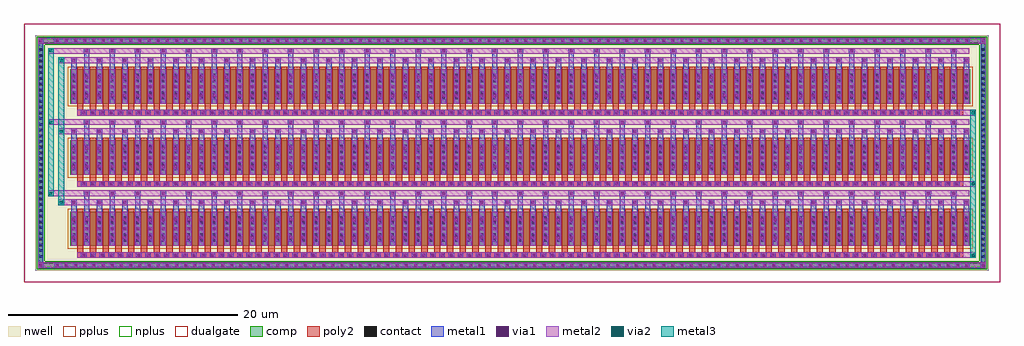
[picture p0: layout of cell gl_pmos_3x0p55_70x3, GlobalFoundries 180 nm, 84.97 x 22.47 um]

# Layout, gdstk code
import gdstk
lib = gdstk.Library(unit=1e-6, precision=1e-09)
def R(c, l, rs):  # rectangles x0, y0, x1, y1
    for r in rs: c.add(gdstk.rectangle(r[:2], r[2:], *l))
def A(c, l, x, y, w, h, nx, ny, dx, dy):  # array of equal rectangles
    R(c, l, [(x+i*dx, y+j*dy, x+i*dx+w, y+j*dy+h) for i in range(nx) for j in range(ny)])
def P(c, l, *ps):  # polygons
    for p in ps: c.add(gdstk.Polygon(p, *l))
nwell = (21, 0)
comp = (22, 0)
poly2 = (30, 0)
pplus = (31, 0)
nplus = (32, 0)
contact = (33, 0)
metal1 = (34, 0)
via1 = (35, 0)
metal2 = (36, 0)
via2 = (38, 0)
metal3 = (42, 0)
dualgate = (55, 0)

gl_pmos_3x0p55_70x3 = lib.new_cell('gl_pmos_3x0p55_70x3')
R(gl_pmos_3x0p55_70x3, nwell, [(-41.485,-10.235,41.485,10.235), (-41.325,-10.075,41.325,10.075)])
A(gl_pmos_3x0p55_70x3, comp, -39.78, -9.955, 0.36, 0.36, 100, 2, 0.8, 19.55)
A(gl_pmos_3x0p55_70x3, comp, -41.205, -9.18, 0.36, 0.36, 1, 37, 0, 0.5)
A(gl_pmos_3x0p55_70x3, comp, 40.845, -9.18, 0.36, 0.36, 1, 37, 0, 0.5)
A(gl_pmos_3x0p55_70x3, comp, -38.455, -8.095, 78.34, 3, 1, 3, 0, 6.19)
R(gl_pmos_3x0p55_70x3, comp, [(-39.78,-9.955,39.78,-9.595), (-41.205,-9.18,-40.845,9.18), (40.845,-9.18,41.205,9.18), (-39.78,9.595,39.78,9.955)])
P(gl_pmos_3x0p55_70x3, comp, [(-41.205,-9.955),(-41.205,-9.595),(-40.845,-9.595),(40.845,-9.595),(40.845,9.595),(-40.845,9.595),(-40.845,-9.595),(-41.205,-9.595),(-41.205,9.955),(41.205,9.955),(41.205,-9.955)])
A(gl_pmos_3x0p55_70x3, poly2, -37.855, -9.135, 77.14, 0.5, 1, 3, 0, 6.19)
A(gl_pmos_3x0p55_70x3, poly2, -37.465, -9.065, 0.36, 0.36, 96, 3, 0.8, 6.19)
A(gl_pmos_3x0p55_70x3, poly2, -37.855, -8.635, 0.55, 0.3, 70, 3, 1.11, 6.19)
A(gl_pmos_3x0p55_70x3, poly2, -37.855, -8.335, 0.55, 3.48, 70, 3, 1.11, 6.19)
A(gl_pmos_3x0p55_70x3, pplus, -38.685, -8.325, 78.8, 3.46, 1, 3, 0, 6.19)
P(gl_pmos_3x0p55_70x3, nplus, [(-41.365,-10.115),(-41.365,-9.435),(-40.685,-9.435),(40.685,-9.435),(40.685,9.435),(-40.685,9.435),(-40.685,-9.435),(-41.365,-9.435),(-41.365,10.115),(41.365,10.115),(41.365,-10.115)])
A(gl_pmos_3x0p55_70x3, contact, -39.71, -9.885, 0.22, 0.22, 100, 2, 0.8, 19.55)
A(gl_pmos_3x0p55_70x3, contact, -41.135, -9.11, 0.22, 0.22, 1, 37, 0, 0.5)
A(gl_pmos_3x0p55_70x3, contact, 40.915, -9.11, 0.22, 0.22, 1, 37, 0, 0.5)
A(gl_pmos_3x0p55_70x3, contact, -37.395, -8.995, 0.22, 0.22, 96, 3, 0.8, 6.19)
A(gl_pmos_3x0p55_70x3, contact, -38.245, -7.705, 0.22, 0.22, 71, 5, 1.11, 0.5)
A(gl_pmos_3x0p55_70x3, contact, -38.245, -1.515, 0.22, 0.22, 71, 5, 1.11, 0.5)
A(gl_pmos_3x0p55_70x3, contact, -38.245, 4.675, 0.22, 0.22, 71, 5, 1.11, 0.5)
A(gl_pmos_3x0p55_70x3, metal1, -39.85, -10.025, 0.5, 0.5, 100, 2, 0.8, 19.55)
A(gl_pmos_3x0p55_70x3, metal1, -41.255, -9.23, 0.46, 0.46, 1, 37, 0, 0.5)
A(gl_pmos_3x0p55_70x3, metal1, 40.795, -9.23, 0.46, 0.46, 1, 37, 0, 0.5)
A(gl_pmos_3x0p55_70x3, metal1, -37.535, -9.135, 0.5, 0.5, 96, 3, 0.8, 6.19)
A(gl_pmos_3x0p55_70x3, metal1, -38.365, -8.095, 0.46, 3, 71, 3, 1.11, 6.19)
A(gl_pmos_3x0p55_70x3, metal1, -38.365, -7.825, 0.46, 0.46, 71, 5, 1.11, 0.5)
A(gl_pmos_3x0p55_70x3, metal1, -38.385, -7.645, 0.5, 0.5, 71, 3, 1.11, 0.8)
A(gl_pmos_3x0p55_70x3, metal1, -38.385, -7.645, 0.5, 2.1, 71, 3, 1.11, 6.19)
A(gl_pmos_3x0p55_70x3, metal1, -38.365, -5.095, 0.46, 1.05, 36, 3, 2.22, 6.19)
A(gl_pmos_3x0p55_70x3, metal1, -37.255, -5.095, 0.46, 1.85, 35, 3, 2.22, 6.19)
A(gl_pmos_3x0p55_70x3, metal1, -38.385, -4.545, 0.5, 0.5, 36, 3, 2.22, 6.19)
A(gl_pmos_3x0p55_70x3, metal1, -37.275, -3.745, 0.5, 0.5, 35, 3, 2.22, 6.19)
A(gl_pmos_3x0p55_70x3, metal1, -38.365, -1.635, 0.46, 0.46, 71, 5, 1.11, 0.5)
A(gl_pmos_3x0p55_70x3, metal1, -38.385, -1.455, 0.5, 0.5, 71, 3, 1.11, 0.8)
A(gl_pmos_3x0p55_70x3, metal1, -38.365, 4.555, 0.46, 0.46, 71, 5, 1.11, 0.5)
A(gl_pmos_3x0p55_70x3, metal1, -38.385, 4.735, 0.5, 0.5, 71, 3, 1.11, 0.8)
R(gl_pmos_3x0p55_70x3, metal1, [(-41.255,-10.025,-40.755,-9.525), (-41.255,-10.025,-40.755,-9.525), (-41.255,-10.025,-40.795,-9.595), (-39.85,-10.025,39.85,-9.525), (40.755,-10.025,41.255,-9.525), (40.755,-10.025,41.255,-9.525), (40.795,-10.025,41.255,-9.595), (-41.255,-9.595,-40.795,9.595), (40.795,-9.595,41.255,9.595), (-41.255,9.525,-40.755,10.025), (-41.255,9.525,-40.755,10.025), (-39.85,9.525,39.85,10.025), (40.755,9.525,41.255,10.025), (40.755,9.525,41.255,10.025), (-41.255,9.595,-40.795,10.025), (40.795,9.595,41.255,10.025)])
A(gl_pmos_3x0p55_70x3, via1, -39.73, -9.905, 0.26, 0.26, 100, 2, 0.8, 19.55)
A(gl_pmos_3x0p55_70x3, via1, -37.415, -9.015, 0.26, 0.26, 96, 3, 0.8, 6.19)
A(gl_pmos_3x0p55_70x3, via1, -38.265, -7.525, 0.26, 0.26, 71, 3, 1.11, 0.8)
A(gl_pmos_3x0p55_70x3, via1, -38.265, -4.425, 0.26, 0.26, 36, 3, 2.22, 6.19)
A(gl_pmos_3x0p55_70x3, via1, -37.155, -3.625, 0.26, 0.26, 35, 3, 2.22, 6.19)
A(gl_pmos_3x0p55_70x3, via1, -38.265, -1.335, 0.26, 0.26, 71, 3, 1.11, 0.8)
A(gl_pmos_3x0p55_70x3, via1, -38.265, 4.855, 0.26, 0.26, 71, 3, 1.11, 0.8)
R(gl_pmos_3x0p55_70x3, via1, [(-41.135,-9.905,-40.875,-9.645), (40.875,-9.905,41.135,-9.645), (-41.135,9.645,-40.875,9.905), (40.875,9.645,41.135,9.905)])
A(gl_pmos_3x0p55_70x3, metal2, -39.85, -10.025, 0.5, 0.5, 100, 2, 0.8, 19.55)
A(gl_pmos_3x0p55_70x3, metal2, -37.855, -9.135, 77.14, 0.5, 1, 3, 0, 6.19)
A(gl_pmos_3x0p55_70x3, metal2, -37.535, -9.135, 0.5, 0.5, 96, 3, 0.8, 6.19)
A(gl_pmos_3x0p55_70x3, metal2, -38.385, -8.095, 0.5, 3, 71, 3, 1.11, 6.19)
A(gl_pmos_3x0p55_70x3, metal2, -38.385, -7.645, 0.5, 0.5, 71, 3, 1.11, 0.8)
A(gl_pmos_3x0p55_70x3, metal2, -38.385, -4.545, 0.5, 0.5, 36, 3, 2.22, 6.19)
A(gl_pmos_3x0p55_70x3, metal2, -37.275, -3.745, 0.5, 0.5, 35, 3, 2.22, 6.19)
A(gl_pmos_3x0p55_70x3, metal2, -38.385, -1.455, 0.5, 0.5, 71, 3, 1.11, 0.8)
A(gl_pmos_3x0p55_70x3, metal2, -38.385, 4.735, 0.5, 0.5, 71, 3, 1.11, 0.8)
R(gl_pmos_3x0p55_70x3, metal2, [(-41.255,-10.025,-40.755,-9.525), (-41.255,-10.025,-40.755,-9.525), (-41.255,-10.025,-40.845,-9.525), (-40.845,-10.025,40.845,-9.525), (40.755,-10.025,41.255,-9.525), (40.755,-10.025,41.255,-9.525), (40.845,-10.025,41.255,-9.525), (39.285,-9.135,40.385,-8.635), (39.885,-9.135,40.385,-8.635), (-39.485,-4.545,-38.985,-4.045), (-39.485,-4.545,-38.385,-4.045), (-38.385,-4.545,39.815,-4.045), (-40.385,-3.745,-39.885,-3.245), (-40.385,-3.745,-38.385,-3.245), (-38.385,-3.745,39.815,-3.245), (39.285,-2.945,40.385,-2.445), (39.285,-2.945,40.385,-2.445), (39.885,-2.945,40.385,-2.445), (39.885,-2.945,40.385,-2.445), (-39.485,1.645,-38.985,2.145), (-39.485,1.645,-38.985,2.145), (-39.485,1.645,-38.385,2.145), (-39.485,1.645,-38.385,2.145), (-38.385,1.645,39.815,2.145), (-40.385,2.445,-39.885,2.945), (-40.385,2.445,-39.885,2.945), (-40.385,2.445,-38.385,2.945), (-40.385,2.445,-38.385,2.945), (-38.385,2.445,39.815,2.945), (39.285,3.245,40.385,3.745), (39.885,3.245,40.385,3.745), (-39.485,7.835,-38.985,8.335), (-39.485,7.835,-38.385,8.335), (-38.385,7.835,39.815,8.335), (-40.385,8.635,-39.885,9.135), (-40.385,8.635,-38.385,9.135), (-38.385,8.635,39.815,9.135), (-41.255,9.525,-40.755,10.025), (-41.255,9.525,-40.755,10.025), (-41.255,9.525,-40.845,10.025), (-40.845,9.525,40.845,10.025), (40.755,9.525,41.255,10.025), (40.755,9.525,41.255,10.025), (40.845,9.525,41.255,10.025)])
R(gl_pmos_3x0p55_70x3, via2, [(40.005,-9.015,40.265,-8.755), (-39.365,-4.425,-39.105,-4.165), (-40.265,-3.625,-40.005,-3.365), (40.005,-2.825,40.265,-2.565), (40.005,-2.825,40.265,-2.565), (-39.365,1.765,-39.105,2.025), (-39.365,1.765,-39.105,2.025), (-40.265,2.565,-40.005,2.825), (-40.265,2.565,-40.005,2.825), (40.005,3.365,40.265,3.625), (-39.365,7.955,-39.105,8.215), (-40.265,8.755,-40.005,9.015)])
R(gl_pmos_3x0p55_70x3, metal3, [(39.885,-9.135,40.385,-8.635), (39.885,-9.135,40.385,-8.635), (39.885,-9.135,40.385,-2.445), (-39.485,-4.545,-38.985,-4.045), (-39.485,-4.545,-38.985,-4.045), (-39.485,-4.545,-38.985,2.145), (-40.385,-3.745,-39.885,-3.245), (-40.385,-3.745,-39.885,-3.245), (-40.385,-3.745,-39.885,2.945), (39.885,-2.945,40.385,-2.445), (39.885,-2.945,40.385,-2.445), (39.885,-2.945,40.385,-2.445), (39.885,-2.945,40.385,-2.445), (39.885,-2.945,40.385,3.745), (-39.485,1.645,-38.985,2.145), (-39.485,1.645,-38.985,2.145), (-39.485,1.645,-38.985,2.145), (-39.485,1.645,-38.985,2.145), (-39.485,1.645,-38.985,8.335), (-40.385,2.445,-39.885,2.945), (-40.385,2.445,-39.885,2.945), (-40.385,2.445,-39.885,2.945), (-40.385,2.445,-39.885,2.945), (-40.385,2.445,-39.885,9.135), (39.885,3.245,40.385,3.745), (39.885,3.245,40.385,3.745), (-39.485,7.835,-38.985,8.335), (-39.485,7.835,-38.985,8.335), (-40.385,8.635,-39.885,9.135), (-40.385,8.635,-39.885,9.135)])
P(gl_pmos_3x0p55_70x3, metal3, [(40.385,-2.945),(40.385,-2.445),(40.385,-2.445),(40.385,-2.945)],
  [(40.385,3.245),(40.385,3.745),(40.385,3.745),(40.385,3.245)],
  [(-39.885,2.445),(-39.885,2.945),(-39.885,2.945),(-39.885,2.445)],
  [(-39.885,8.635),(-39.885,9.135),(-39.885,9.135),(-39.885,8.635)],
  [(-38.985,1.645),(-38.985,2.145),(-38.985,2.145),(-38.985,1.645)],
  [(-38.985,7.835),(-38.985,8.335),(-38.985,8.335),(-38.985,7.835)],
  [(40.385,-9.135),(40.385,-8.635),(40.385,-8.635),(40.385,-9.135)],
  [(40.385,-2.945),(40.385,-2.445),(40.385,-2.445),(40.385,-2.945)],
  [(-39.885,-3.745),(-39.885,-3.245),(-39.885,-3.245),(-39.885,-3.745)],
  [(-39.885,2.445),(-39.885,2.945),(-39.885,2.945),(-39.885,2.445)],
  [(-38.985,-4.545),(-38.985,-4.045),(-38.985,-4.045),(-38.985,-4.545)],
  [(-38.985,1.645),(-38.985,2.145),(-38.985,2.145),(-38.985,1.645)])
R(gl_pmos_3x0p55_70x3, dualgate, [(-42.485,-11.235,42.485,11.235)])

lib.write_gds('gl_pmos_3x0p55_70x3.gds')
